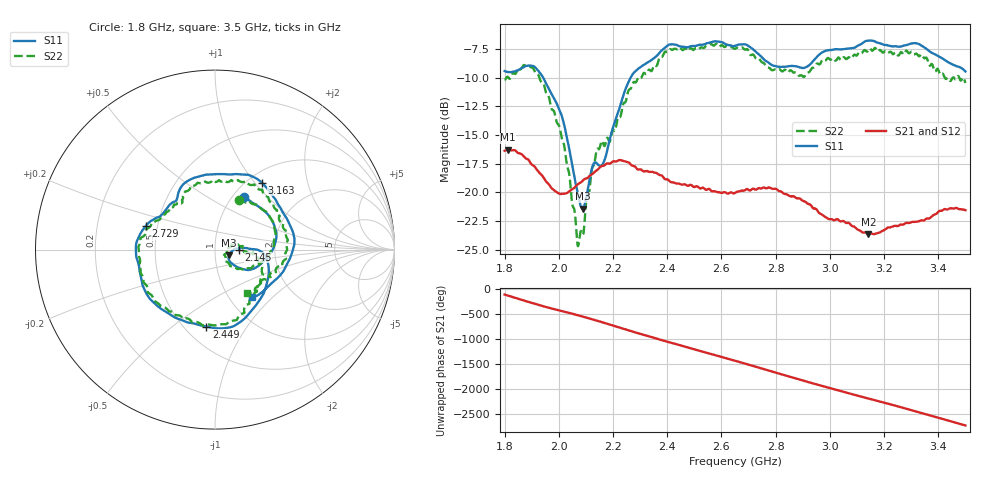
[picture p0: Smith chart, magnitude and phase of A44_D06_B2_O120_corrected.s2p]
! Created with skrf 1.9.0 (http://scikit-rf.org).
# Hz S RI R 50.0
!freq ReS11 ImS11 ReS21 ImS21 ReS12 ImS12 ReS22 ImS22
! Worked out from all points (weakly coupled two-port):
!   1601 points, 1.8 GHz to 3.5 GHz, reference 50 ohm
!   highest |S21| = -16.28 dB at 1.812 GHz (marker M1); lowest = -23.6 dB at 3.142 GHz (marker M2)
!   lowest |S11| = -21.4 dB at 2.088 GHz (marker M3), VSWR 1.19, Z = 58.4 - j3.77 ohm
!   |S11| at or under -10 dB: 1.942 GHz to 2.265 GHz (323.3 MHz wide, 15.4 % of centre)
!   |S22| runs from -24.7 to -7.1 dB; largest |S21 - S12| = 0.0025
!   S11 on the Smith chart (normalised r, x): 1.8 GHz: 1.12, +0.75; 2.145 GHz: 1.30, +0.00; 2.449 GHz: 0.63, -0.67; 2.729 GHz: 0.43, +0.13; 3.163 GHz: 1.16, +1.09; 3.5 GHz: 1.27, -0.76
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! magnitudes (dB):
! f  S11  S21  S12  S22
! 1.8 GHz  -9.4  -16.4  -16.4  -10.2
! 1.812 GHz  -9.5  -16.3  -16.3  -9.9
! 1.882 GHz  -9.0  -17.1  -17.1  -9.0
! 1.942 GHz  -10.0  -18.7  -18.7  -10.5
! 2.013 GHz  -13.5  -20.1  -20.1  -15.4
! 2.068 GHz  -19.9  -19.3  -19.3  -24.3
! 2.084 GHz  -21.3  -19.1  -19.0  -23.4
! 2.088 GHz  -21.4  -19.0  -19.0  -23.7
! 2.125 GHz  -17.7  -18.4  -18.4  -17.8
! 2.145 GHz  -17.6  -18.0  -17.9  -16.2
! 2.168 GHz  -17.3  -17.7  -17.7  -16.0
! 2.265 GHz  -10.0  -17.6  -17.6  -11.0
! 2.367 GHz  -8.0  -18.4  -18.4  -8.6
! 2.449 GHz  -7.3  -19.3  -19.3  -7.4
! 2.65 GHz  -7.2  -20.0  -20.0  -7.5
! 2.729 GHz  -7.8  -19.8  -19.8  -8.4
! 2.934 GHz  -8.7  -21.3  -21.2  -9.2
! 3.142 GHz  -6.8  -23.6  -23.5  -7.6
! 3.163 GHz  -6.8  -23.6  -23.6  -7.5
! 3.217 GHz  -7.2  -23.0  -23.0  -7.8
! 3.324 GHz  -7.0  -22.5  -22.5  -8.0
! 3.5 GHz  -9.5  -21.5  -21.5  -10.5
